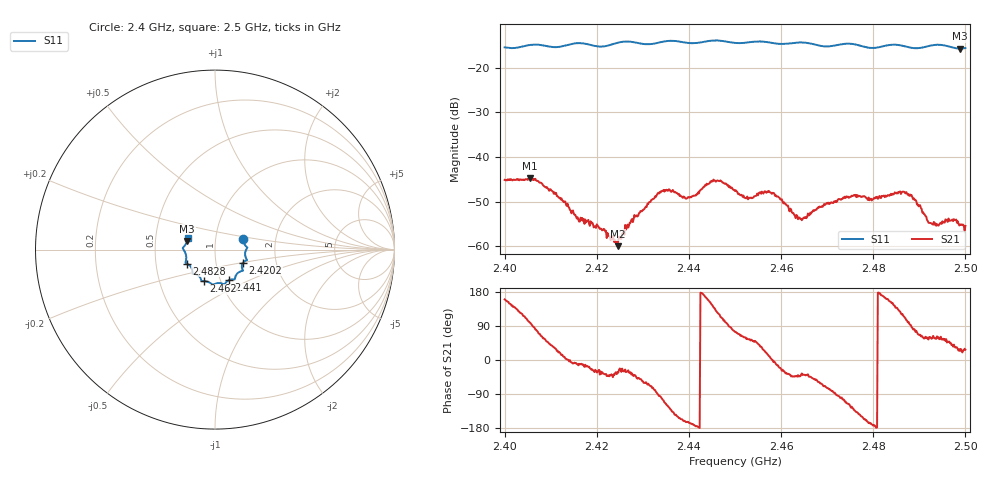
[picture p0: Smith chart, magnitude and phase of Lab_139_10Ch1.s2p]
# Hz S RI R
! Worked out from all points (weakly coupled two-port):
!   601 points, 2.4 GHz to 2.5 GHz, reference 50 ohm
!   highest |S21| = -44.80 dB at 2.4055 GHz (marker M1); lowest = -60.0 dB at 2.4245 GHz (marker M2)
!   lowest |S11| = -15.8 dB at 2.4988 GHz (marker M3), VSWR 1.39, Z = 36.4 + j3.43 ohm
!   |S11| at or under -10 dB: start of sweep to end of sweep
!   S12 and S22 are empty: the file has one direction only
!   S11 on the Smith chart (normalised r, x): 2.4 GHz: 1.36, +0.17; 2.4202 GHz: 1.35, -0.20; 2.441 GHz: 1.10, -0.39; 2.462 GHz: 0.83, -0.30; 2.4828 GHz: 0.72, -0.12; 2.5 GHz: 0.73, +0.09
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2.4e9  0.1568 0.061  -0.0052 0.00189  0 0  0 0
2.4055e9  0.1783 0.0138  -0.00083 0.0057  0 0  0 0
2.410667e9  0.1685 -0.0148  0.00322 0.00216  0 0  0 0
2.416667e9  0.1774 -0.0591  0.00193 -0.000342  0 0  0 0
2.420167e9  0.1566 -0.0719  0.00146 -0.000899  0 0  0 0
2.4245e9  0.1536 -0.1104  0.000847 -0.000539  0 0  0 0
2.433333e9  0.1127 -0.1521  -8.8e-05 -0.00397  0 0  0 0
2.441e9  0.077 -0.1705  -0.00365 -0.00056  0 0  0 0
2.445167e9  0.0532 -0.1931  -0.00425 0.00321  0 0  0 0
2.45e9  0.0273 -0.1865  0.00112 0.00399  0 0  0 0
2.4525e9  0.00344 -0.19  0.00197 0.00283  0 0  0 0
2.457833e9  -0.0241 -0.1879  0.00395 0.000246  0 0  0 0
2.462e9  -0.0616 -0.1761  0.00205 -0.00166  0 0  0 0
2.464167e9  -0.0734 -0.1763  0.00148 -0.00137  0 0  0 0
2.466667e9  -0.0773 -0.1672  0.00165 -0.00177  0 0  0 0
2.474e9  -0.1249 -0.1359  -0.00118 -0.00326  0 0  0 0
2.482833e9  -0.1582 -0.0777  -0.00341 0.00118  0 0  0 0
2.483333e9  -0.161 -0.0761  -0.00344 0.00144  0 0  0 0
2.487833e9  -0.1603 -0.0506  -0.000363 0.00365  0 0  0 0
2.4925e9  -0.1762 0.000909  0.000949 0.00155  0 0  0 0
2.498833e9  -0.1562 0.0459  0.00161 0.000709  0 0  0 0
2.5e9  -0.1531 0.0621  0.0015 0.000777  0 0  0 0
